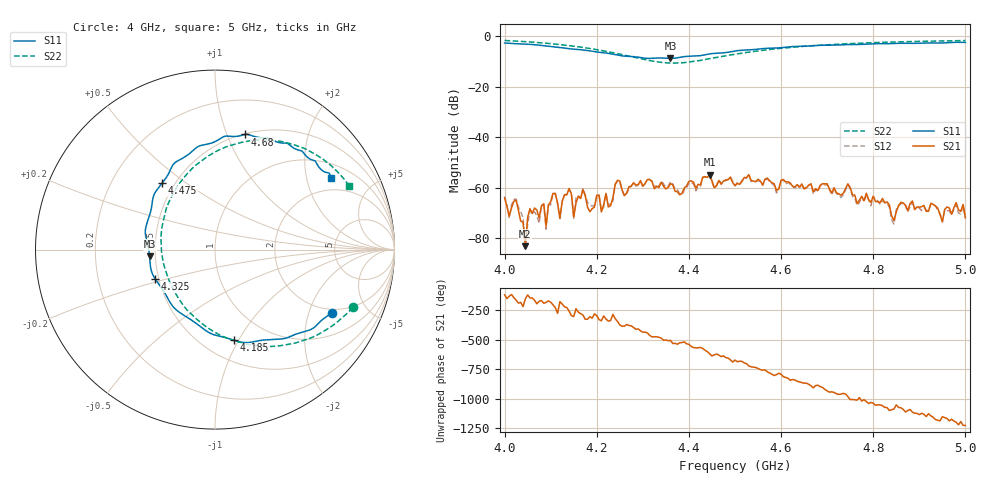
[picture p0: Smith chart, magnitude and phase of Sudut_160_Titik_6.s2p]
# Hz S RI R 50
! CMT, C1220, 16058040, 17.2.0/1
! Date: 15/08/2018 12:11:10
! Data: Format (Calibration Info)
! Freq  S11: Re/Im (F2)  S21: Re/Im (F2)  S12: Re/Im (F2)  S22: Re/Im (F2)
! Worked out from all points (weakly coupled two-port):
!   201 points, 4 GHz to 5 GHz, reference 50 ohm
!   highest |S21| = -54.81 dB at 4.445 GHz (marker M1); lowest = -83.2 dB at 4.045 GHz (marker M2)
!   lowest |S11| = -8.7 dB at 4.36 GHz (marker M3), VSWR 2.16, Z = 23.2 - j1.98 ohm
!   |S11| at or under -10 dB: nowhere
!   |S22| runs from -10.6 to -1.6 dB; largest |S21 - S12| = 0.00019
!   S11 on the Smith chart (normalised r, x): 4 GHz: 1.84, -2.87; 4.185 GHz: 0.70, -0.96; 4.325 GHz: 0.48, -0.18; 4.475 GHz: 0.43, +0.41; 4.68 GHz: 0.51, +1.16; 5 GHz: 1.47, +2.82
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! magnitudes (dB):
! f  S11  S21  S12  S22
! 4 GHz  -2.6  -64.0  -63.5  -1.6
! 4.045 GHz  -3.0  -83.2  -82.6  -2.1
! 4.055 GHz  -3.1  -68.3  -69.0  -2.2
! 4.085 GHz  -3.7  -66.3  -66.9  -2.6
! 4.09 GHz  -3.8  -75.2  -76.5  -2.7
! 4.105 GHz  -4.0  -62.2  -62.3  -2.9
! 4.12 GHz  -4.4  -72.1  -72.3  -3.2
! 4.14 GHz  -4.9  -60.3  -60.8  -3.6
! 4.15 GHz  -5.0  -71.5  -72.4  -3.9
! 4.17 GHz  -5.4  -60.7  -60.4  -4.4
! 4.185 GHz  -5.7  -69.5  -66.8  -4.8
! 4.245 GHz  -7.4  -57.1  -57.6  -6.8
! 4.325 GHz  -8.6  -60.4  -59.8  -9.9
! 4.335 GHz  -8.5  -59.9  -59.5  -10.2
! 4.36 GHz  -8.7  -58.4  -57.7  -10.5
! 4.445 GHz  -6.9  -54.8  -55.1  -8.8
! 4.475 GHz  -6.5  -57.3  -57.2  -7.8
! 4.5 GHz  -5.8  -59.2  -59.1  -7.1
! 4.67 GHz  -3.7  -61.6  -62.5  -3.7
! 4.68 GHz  -3.6  -61.1  -61.4  -3.5
! 4.835 GHz  -2.9  -66.8  -67.9  -2.3
! 5 GHz  -2.4  -71.9  -72.1  -1.6
